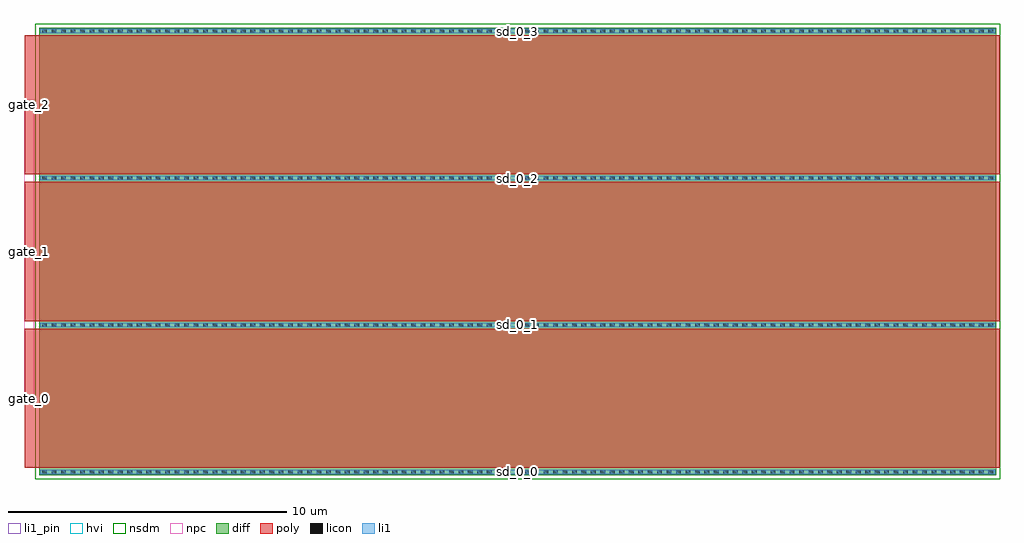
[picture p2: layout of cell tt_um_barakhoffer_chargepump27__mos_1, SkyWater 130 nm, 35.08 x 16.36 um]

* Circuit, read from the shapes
.subckt tt_um_barakhoffer_chargepump27__mos_1 gate_0 gate_1 gate_2 sd_0_0 sd_0_1 sd_0_2 sd_0_3
XM1 sd_0_1 gate_0 sd_0_0 VSUBS sky130_fd_pr__nfet_g5v0d10v5 w=34.4 l=5
XM2 sd_0_2 gate_1 sd_0_1 VSUBS sky130_fd_pr__nfet_g5v0d10v5 w=34.4 l=5
XM3 sd_0_3 gate_2 sd_0_2 VSUBS sky130_fd_pr__nfet_g5v0d10v5 w=34.4 l=5
.ends

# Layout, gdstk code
import gdstk
lib = gdstk.Library(unit=1e-6, precision=1e-09)
def R(c, l, rs):  # rectangles x0, y0, x1, y1
    for r in rs: c.add(gdstk.rectangle(r[:2], r[2:], *l))
def A(c, l, x, y, w, h, nx, ny, dx, dy):  # array of equal rectangles
    R(c, l, [(x+i*dx, y+j*dy, x+i*dx+w, y+j*dy+h) for i in range(nx) for j in range(ny)])
diff = (65, 20)
poly = (66, 20)
licon = (66, 44)
li1_pin = (67, 16)
li1 = (67, 20)
hvi = (75, 20)
nsdm = (93, 44)
npc = (95, 20)

tt_um_barakhoffer_charge = lib.new_cell('tt_um_barakhoffer_chargepump27__mos_1')
A(tt_um_barakhoffer_charge, diff, 0.055, 0, 34.29, 0.25, 1, 4, 0, 5.28)
R(tt_um_barakhoffer_charge, diff, [(0,0,34.4,16.09)])
A(tt_um_barakhoffer_charge, poly, -0.52, 0.265, 0.33, 5, 1, 3, 0, 5.28)
A(tt_um_barakhoffer_charge, poly, -0.19, 0.265, 34.72, 5, 1, 3, 0, 5.28)
A(tt_um_barakhoffer_charge, poly, -0.52, 2.63, 0.33, 0.27, 1, 3, 0, 5.28)
A(tt_um_barakhoffer_charge, licon, 0.115, 0.04, 0.17, 0.17, 101, 4, 0.34, 5.28)
A(tt_um_barakhoffer_charge, licon, -0.44, 2.68, 0.17, 0.17, 1, 3, 0, 5.28)
A(tt_um_barakhoffer_charge, li1_pin, 0.035, 0.04, 34.33, 0.17, 1, 4, 0, 5.28)
A(tt_um_barakhoffer_charge, li1_pin, -0.52, 2.68, 0.33, 0.17, 1, 3, 0, 5.28)
R(tt_um_barakhoffer_charge, li1, [(0.035,0.04,34.365,0.21), (0.035,0.04,34.365,0.21), (-0.52,2.68,-0.19,2.85), (-0.52,2.68,-0.19,2.85), (0.035,5.32,34.365,5.49), (0.035,5.32,34.365,5.49), (-0.52,7.96,-0.19,8.13), (-0.52,7.96,-0.19,8.13), (0.035,10.6,34.365,10.77), (0.035,10.6,34.365,10.77), (-0.52,13.24,-0.19,13.41), (-0.52,13.24,-0.19,13.41), (0.035,15.88,34.365,16.05), (0.035,15.88,34.365,16.05)])
R(tt_um_barakhoffer_charge, hvi, [(-0.135,-0.135,34.535,16.225)])
R(tt_um_barakhoffer_charge, nsdm, [(-0.135,-0.135,34.535,16.225)])
A(tt_um_barakhoffer_charge, npc, -0.54, 2.58, 0.37, 0.37, 1, 3, 0, 5.28)
R(tt_um_barakhoffer_charge, npc, [(-0.54,2.58,-0.17,13.51)])
tt_um_barakhoffer_charge.add(gdstk.Label('gate_0', (-0.355,2.765), layer=67, texttype=5))
tt_um_barakhoffer_charge.add(gdstk.Label('sd_0_0', (17.2,0.125), layer=67, texttype=5))
tt_um_barakhoffer_charge.add(gdstk.Label('sd_0_2', (17.2,10.685), layer=67, texttype=5))
tt_um_barakhoffer_charge.add(gdstk.Label('sd_0_1', (17.2,5.405), layer=67, texttype=5))
tt_um_barakhoffer_charge.add(gdstk.Label('gate_2', (-0.355,13.325), layer=67, texttype=5))
tt_um_barakhoffer_charge.add(gdstk.Label('sd_0_3', (17.2,15.965), layer=67, texttype=5))
tt_um_barakhoffer_charge.add(gdstk.Label('gate_1', (-0.355,8.045), layer=67, texttype=5))

lib.write_gds('tt_um_barakhoffer_chargepump27__mos_1.gds')
